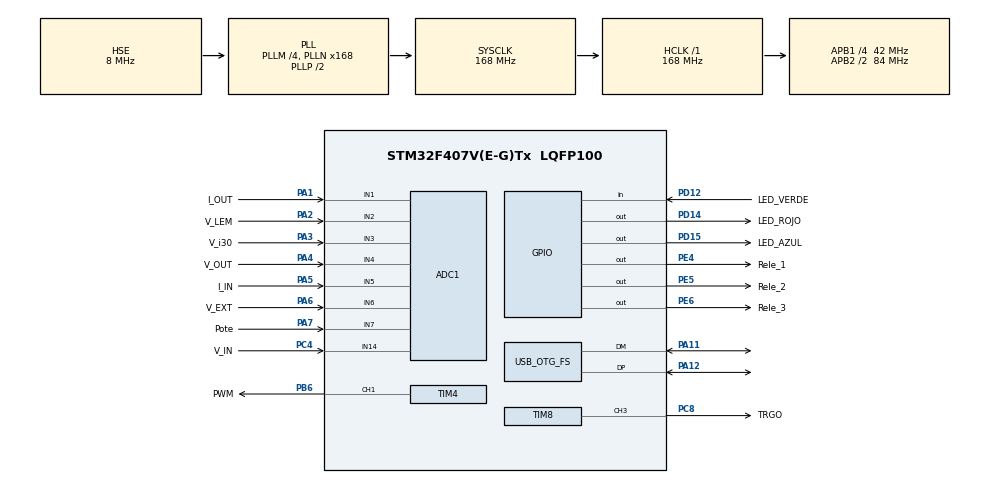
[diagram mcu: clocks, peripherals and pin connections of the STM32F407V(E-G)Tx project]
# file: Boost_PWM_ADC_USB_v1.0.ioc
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ADC1.Channel-0\#ChannelRegularConversion=ADC_CHANNEL_1
ADC1.Channel-1\#ChannelRegularConversion=ADC_CHANNEL_2
ADC1.Channel-2\#ChannelRegularConversion=ADC_CHANNEL_3
ADC1.Channel-3\#ChannelRegularConversion=ADC_CHANNEL_4
ADC1.Channel-4\#ChannelRegularConversion=ADC_CHANNEL_5
ADC1.Channel-5\#ChannelRegularConversion=ADC_CHANNEL_6
ADC1.Channel-6\#ChannelRegularConversion=ADC_CHANNEL_7
ADC1.Channel-7\#ChannelRegularConversion=ADC_CHANNEL_14
ADC1.DMAContinuousRequests=ENABLE
ADC1.EOCSelection=ADC_EOC_SEQ_CONV
ADC1.ExternalTrigConv=ADC_EXTERNALTRIGCONV_T8_TRGO
ADC1.ExternalTrigConvEdge=ADC_EXTERNALTRIGCONVEDGE_FALLING
ADC1.NbrOfConversion=8
ADC1.NbrOfConversionFlag=1
ADC1.Rank-0\#ChannelRegularConversion=1
ADC1.Rank-1\#ChannelRegularConversion=2
ADC1.Rank-2\#ChannelRegularConversion=3
ADC1.Rank-3\#ChannelRegularConversion=4
ADC1.Rank-4\#ChannelRegularConversion=5
ADC1.Rank-5\#ChannelRegularConversion=6
ADC1.Rank-6\#ChannelRegularConversion=7
ADC1.Rank-7\#ChannelRegularConversion=8
ADC1.SamplingTime-0\#ChannelRegularConversion=ADC_SAMPLETIME_56CYCLES
ADC1.SamplingTime-1\#ChannelRegularConversion=ADC_SAMPLETIME_56CYCLES
ADC1.SamplingTime-2\#ChannelRegularConversion=ADC_SAMPLETIME_56CYCLES
ADC1.SamplingTime-3\#ChannelRegularConversion=ADC_SAMPLETIME_56CYCLES
ADC1.SamplingTime-4\#ChannelRegularConversion=ADC_SAMPLETIME_56CYCLES
ADC1.SamplingTime-5\#ChannelRegularConversion=ADC_SAMPLETIME_56CYCLES
ADC1.SamplingTime-6\#ChannelRegularConversion=ADC_SAMPLETIME_56CYCLES
ADC1.SamplingTime-7\#ChannelRegularConversion=ADC_SAMPLETIME_56CYCLES
ADC1.ScanConvMode=ENABLE
ADC1.master=1
Dma.ADC1.0.Direction=DMA_PERIPH_TO_MEMORY
Dma.ADC1.0.FIFOMode=DMA_FIFOMODE_DISABLE
Dma.ADC1.0.Instance=DMA2_Stream0
Dma.ADC1.0.MemDataAlignment=DMA_MDATAALIGN_HALFWORD
Dma.ADC1.0.MemInc=DMA_MINC_ENABLE
Dma.ADC1.0.Mode=DMA_CIRCULAR
Dma.ADC1.0.PeriphDataAlignment=DMA_PDATAALIGN_HALFWORD
Dma.ADC1.0.PeriphInc=DMA_PINC_DISABLE
Dma.ADC1.0.Priority=DMA_PRIORITY_HIGH
Dma.MEMTOMEM.1.Direction=DMA_MEMORY_TO_MEMORY
Dma.MEMTOMEM.1.FIFOMode=DMA_FIFOMODE_ENABLE
Dma.MEMTOMEM.1.FIFOThreshold=DMA_FIFO_THRESHOLD_FULL
Dma.MEMTOMEM.1.Instance=DMA2_Stream1
Dma.MEMTOMEM.1.MemBurst=DMA_MBURST_SINGLE
Dma.MEMTOMEM.1.MemDataAlignment=DMA_MDATAALIGN_HALFWORD
Dma.MEMTOMEM.1.MemInc=DMA_MINC_ENABLE
Dma.MEMTOMEM.1.Mode=DMA_NORMAL
Dma.MEMTOMEM.1.PeriphBurst=DMA_PBURST_SINGLE
Dma.MEMTOMEM.1.PeriphDataAlignment=DMA_PDATAALIGN_HALFWORD
Dma.MEMTOMEM.1.PeriphInc=DMA_PINC_ENABLE
Dma.MEMTOMEM.1.Priority=DMA_PRIORITY_LOW
Dma.Request0=ADC1
Dma.Request1=MEMTOMEM
Mcu.Family=STM32F4
Mcu.Name=STM32F407V(E-G)Tx
Mcu.Package=LQFP100
NVIC.DMA2_Stream0_IRQn=true\:0\:0\:false\:false\:true\:false\:true\:true
NVIC.OTG_FS_IRQn=true\:0\:0\:false\:false\:true\:false\:true\:true
NVIC.PriorityGroup=NVIC_PRIORITYGROUP_0
NVIC.TIM4_IRQn=true\:0\:0\:false\:false\:true\:true\:true\:true
NVIC.TIM8_CC_IRQn=true\:0\:0\:false\:false\:true\:true\:true\:true
PA1.GPIO_Label=I_OUT
PA1.Signal=ADCx_IN1
PA11.Mode=Device_Only
PA11.Signal=USB_OTG_FS_DM
PA12.Mode=Device_Only
PA12.Signal=USB_OTG_FS_DP
PA2.GPIO_Label=V_LEM
PA2.Signal=ADCx_IN2
PA3.GPIO_Label=V_i30
PA3.Signal=ADCx_IN3
PA4.GPIO_Label=V_OUT
PA4.Signal=ADCx_IN4
PA5.GPIO_Label=I_IN
PA5.Signal=ADCx_IN5
PA6.GPIO_Label=V_EXT
PA6.Signal=ADCx_IN6
PA7.GPIO_Label=Pote
PA7.Signal=ADCx_IN7
PB6.GPIO_Label=PWM
PB6.Signal=S_TIM4_CH1
PC4.GPIO_Label=V_IN
PC4.Signal=ADCx_IN14
PC8.GPIO_Label=TRGO
PC8.Signal=S_TIM8_CH3
PD12.GPIO_Label=LED_VERDE
PD12.Signal=GPIO_Input
PD14.GPIO_Label=LED_ROJO
PD14.Signal=GPIO_Output
PD15.GPIO_Label=LED_AZUL
PD15.Signal=GPIO_Output
PE4.GPIO_Label=Rele_1
PE4.Signal=GPIO_Output
PE5.GPIO_Label=Rele_2
PE5.Signal=GPIO_Output
PE6.GPIO_Label=Rele_3
PE6.Signal=GPIO_Output
PH0-OSC_IN.Mode=HSE-External-Oscillator
PH0-OSC_IN.Signal=RCC_OSC_IN
PH1-OSC_OUT.Mode=HSE-External-Oscillator
PH1-OSC_OUT.Signal=RCC_OSC_OUT
ProjectManager.HeapSize=0x200
ProjectManager.StackSize=0x400
ProjectManager.TargetToolchain=STM32CubeIDE
RCC.48MHZClocksFreq_Value=48000000
RCC.AHBFreq_Value=168000000
RCC.APB1CLKDivider=RCC_HCLK_DIV4
RCC.APB1Freq_Value=42000000
RCC.APB1TimFreq_Value=84000000
RCC.APB2CLKDivider=RCC_HCLK_DIV2
RCC.APB2Freq_Value=84000000
RCC.APB2TimFreq_Value=168000000
RCC.CortexFreq_Value=168000000
RCC.HCLKFreq_Value=168000000
RCC.HSE_VALUE=8000000
RCC.HSI_VALUE=16000000
RCC.LSE_VALUE=32768
RCC.PLLM=4
RCC.PLLN=168
RCC.PLLQ=7
RCC.SYSCLKFreq_VALUE=168000000
RCC.SYSCLKSource=RCC_SYSCLKSOURCE_PLLCLK
RCC.VCOOutputFreq_Value=336000000
SH.ADCx_IN1.0=ADC1_IN1,IN1
SH.ADCx_IN14.0=ADC1_IN14,IN14
SH.ADCx_IN2.0=ADC1_IN2,IN2
SH.ADCx_IN3.0=ADC1_IN3,IN3
SH.ADCx_IN4.0=ADC1_IN4,IN4
SH.ADCx_IN5.0=ADC1_IN5,IN5
SH.ADCx_IN6.0=ADC1_IN6,IN6
SH.ADCx_IN7.0=ADC1_IN7,IN7
SH.S_TIM4_CH1.0=TIM4_CH1,PWM Generation1 CH1
SH.S_TIM8_CH3.0=TIM8_CH3,PWM Generation3 CH3
TIM4.Channel-PWM\ Generation1\ CH1=TIM_CHANNEL_1
TIM4.Period=8399
TIM4.Pulse-PWM\ Generation1\ CH1=4400
TIM8.Channel-PWM\ Generation3\ CH3=TIM_CHANNEL_3
TIM8.Period=8399
TIM8.Prescaler=1
TIM8.Pulse-PWM\ Generation3\ CH3=4200
TIM8.TIM_MasterOutputTrigger=TIM_TRGO_OC3REF
USB_DEVICE.CLASS_NAME_FS=CDC
USB_DEVICE.VirtualMode-CDC_FS=Cdc
USB_DEVICE.VirtualModeFS=Cdc_FS
USB_OTG_FS.VirtualMode=Device_Only
VP_TIM4_VS_ClockSourceINT.Mode=Internal
VP_TIM8_VS_ClockSourceINT.Mode=Internal
VP_USB_DEVICE_VS_USB_DEVICE_CDC_FS.Mode=CDC_FS
board=STM32F407G-DISC1

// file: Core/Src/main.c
/* USER CODE BEGIN Header */
/**
  ******************************************************************************
  * @file           : main.c
  * @brief          : Main program body
  ******************************************************************************
  * @attention
  *
  * Copyright (c) 2024 STMicroelectronics.
  * All rights reserved.
  *
  * This software is licensed under terms that can be found in the LICENSE file
  * in the root directory of this software component.
  * If no LICENSE file comes with this software, it is provided AS-IS.
  *
  ******************************************************************************
  */
/* USER CODE END Header */
#include "main.h"
#include "usb_device.h"

/* USER CODE BEGIN Includes */
#include "stdbool.h"
#include "math.h"
#include "stdio.h"
#include <string.h> // Necesario para memcpy
#include "usbd_cdc_if.h"
/* USER CODE END Includes */

ADC_HandleTypeDef hadc1;
DMA_HandleTypeDef hdma_adc1;

TIM_HandleTypeDef htim4;
TIM_HandleTypeDef htim8;

DMA_HandleTypeDef hdma_memtomem_dma2_stream1;

void SystemClock_Config(void);
static void MX_GPIO_Init(void);
static void MX_DMA_Init(void);
static void MX_ADC1_Init(void);
static void MX_TIM4_Init(void);
static void MX_TIM8_Init(void);
/* USER CODE BEGIN PFP */

void DMA_Transfer(uint16_t *source, uint16_t *destination, uint16_t size);
void convert_Uint16_to_Uint8(uint16_t *srcArray, size_t srcLength, uint8_t *destArray);

/* USER CODE END PFP */

/* USER CODE BEGIN 0 */

#define ITM_Port32(n) (*((volatile unsigned long *) (0xE0000000+4*n)))

// Variables del ADC
#define CANALES_ADC 8									//Cantidad de canales que muestrea el ADC
#define BUFFER_CANALES_ADC 10							//Cantidad de mediciones de cada canal que se guardara antes de enviarlos
#define ADC_BUFFER_SIZE CANALES_ADC*BUFFER_CANALES_ADC  //Size del buffer donde el DMA guardara las mediciones del ADC
#define ADC_BUFFER_HALF_SIZE ADC_BUFFER_SIZE/2

uint16_t adc1_array[ADC_BUFFER_SIZE]; 					//Array donde el DMA guarda las conversiones del ADC1 [Io, LEM, i30, Vo, IL, Vext, Pote, Vin]
uint16_t tx_buffer1[ADC_BUFFER_HALF_SIZE];				//Array donde se guarda la primera mitad de los datos muestreados por el ADC (adc1_array)
uint16_t tx_buffer2[ADC_BUFFER_HALF_SIZE];				//Array donde se guarda la segunda mitad de los datos muestreados por el ADC (adc1_array)

//Array que se va a enviar por USB. Para evitar que el ADC sobreescriba los datos del array antes de que estos
//sean envaidos, se utiliza una tecnica que consiste en:
//	1. Almacenar los datos del ADC en un Array (adc1_array)
//  2. Cuando el DMA lleno la mitad del array (adc1_array) mueve estos datos al array tx_buffer1
//  3. Como el array tx_buffer1 es de 16 bits, se convierten cada uno de sus valores a datos de 8 bits que se almacenan en el array "tx_buffer_final"
//     Por eso, el tamaño del array "tx_buffer_final" es el doble del array "tx_buffer1". Una vez convertido, el array "tx_buffer_final" es enviado por USB.
//  4. Mientras el punto 3 se ejecuta, el DMA continua llenando la segunda mitad del array "adc1_array", una vez terminado, se repite el punto 3 pero con el array "tx_buffer2"

uint8_t tx_buffer_final[ADC_BUFFER_SIZE+2]; 			//Tamaño del encabezado (2 bytes) + tamaño de los datos convertidos (2 * número de elementos en srcArray)

uint16_t duty_pwm = 0;
uint16_t trigger = 0;

uint16_t cont = 0;

//--Variables para la banda muerta
uint16_t x_prev = 0;
float deadBand = 0.05;

float duty= 0;

float bandaMuerta(float x) {		//Banda muerta para el potenciometro

	if (fabs(x - x_prev) < deadBand) {
		x = x_prev;
	} else {
		x_prev = x;
	}

	if (x < 0.1){
		return 0.1;
	}
	else if (x > 0.9){
		return 0.9;
	}
	else{
		return x;
	}
}

void set_period(float duty){

	duty_pwm = duty * (htim4.Init.Period + 1);

	if (duty > 0.5){
		trigger = (duty*0.5) * (htim8.Init.Period + 1);
	}
	else{
		trigger = ((1-duty)*0.5 + duty) * (htim8.Init.Period + 1);
	}

	trigger = duty_pwm;

	__HAL_TIM_SET_COMPARE(&htim4,TIM_CHANNEL_1, duty_pwm);
	__HAL_TIM_SET_COMPARE(&htim8,TIM_CHANNEL_3, trigger);
}

/* USER CODE END 0 */

int main(void)
{

  /* MCU Configuration--------------------------------------------------------*/

  /* Reset of all peripherals, Initializes the Flash interface and the Systick. */
  HAL_Init();

  /* Configure the system clock */
  SystemClock_Config();

  /* Initialize all configured peripherals */
  MX_GPIO_Init();
  MX_DMA_Init();
  MX_ADC1_Init();
  MX_TIM4_Init();
  MX_TIM8_Init();
  MX_USB_DEVICE_Init();
  /* USER CODE BEGIN 2 */

	DBGMCU->APB1FZ |= (DBGMCU_APB1_FZ_DBG_TIM4_STOP);//Detiene el clock del APB1 en Debug Mode
	DBGMCU->APB2FZ |= (DBGMCU_APB2_FZ_DBG_TIM8_STOP);//Detiene el clock del APB2 en Debug Mode

	__HAL_TIM_SET_COUNTER(&htim4, 0);//Reseteo los contadores de ambos timers para que cuenten en paralelo
	__HAL_TIM_SET_COUNTER(&htim8, 0);

	if (HAL_ADC_Start_DMA(&hadc1, (uint32_t*) &adc1_array, (sizeof(adc1_array) / sizeof(adc1_array[0]))) != HAL_OK) {//Inicio el DMA para enviar los datos del ADC a la variable "adc1_array" -> Iniciarlo antes que los Timers!!!
		Error_Handler();
	}

	if (HAL_TIM_PWM_Start_IT(&htim4, TIM_CHANNEL_1) != HAL_OK) {//Inicio el CH1 del Timer 4. Salida del  PWM
		Error_Handler();
	}

	if (HAL_TIM_PWM_Start_IT(&htim8, TIM_CHANNEL_3) != HAL_OK) {//Inicio el CH3 del Timer 8. Salida del  PWM
		Error_Handler();
	}

	__HAL_TIM_SET_COMPARE(&htim4,TIM_CHANNEL_1, 0.5*(htim4.Init.Period + 1));
	__HAL_TIM_SET_COMPARE(&htim8,TIM_CHANNEL_3, 0.5*(htim8.Init.Period + 1));

	HAL_GPIO_WritePin(Rele_1_GPIO_Port, Rele_1_Pin, 1);
	HAL_GPIO_WritePin(Rele_2_GPIO_Port, Rele_2_Pin, 1);
	HAL_GPIO_WritePin(Rele_3_GPIO_Port, Rele_3_Pin, 1);

  /* USER CODE END 2 */

  /* Infinite loop */
  /* USER CODE BEGIN WHILE */
  while (1)
  {

	  HAL_Delay(500);

	  duty = bandaMuerta(adc1_array[6]/4096.0);

	  set_period(duty);

    /* USER CODE END WHILE */

  }
}

void SystemClock_Config(void)
{
  RCC_OscInitTypeDef RCC_OscInitStruct = {0};
  RCC_ClkInitTypeDef RCC_ClkInitStruct = {0};

  /** Configure the main internal regulator output voltage
  */
  __HAL_RCC_PWR_CLK_ENABLE();
  __HAL_PWR_VOLTAGESCALING_CONFIG(PWR_REGULATOR_VOLTAGE_SCALE1);

  /** Initializes the RCC Oscillators according to the specified parameters
  * in the RCC_OscInitTypeDef structure.
  */
  RCC_OscInitStruct.OscillatorType = RCC_OSCILLATORTYPE_HSE;
  RCC_OscInitStruct.HSEState = RCC_HSE_ON;
  RCC_OscInitStruct.PLL.PLLState = RCC_PLL_ON;
  RCC_OscInitStruct.PLL.PLLSource = RCC_PLLSOURCE_HSE;
  RCC_OscInitStruct.PLL.PLLM = 4;
  RCC_OscInitStruct.PLL.PLLN = 168;
  RCC_OscInitStruct.PLL.PLLP = RCC_PLLP_DIV2;
  RCC_OscInitStruct.PLL.PLLQ = 7;
  if (HAL_RCC_OscConfig(&RCC_OscInitStruct) != HAL_OK)
  {
    Error_Handler();
  }

  /** Initializes the CPU, AHB and APB buses clocks
  */
  RCC_ClkInitStruct.ClockType = RCC_CLOCKTYPE_HCLK|RCC_CLOCKTYPE_SYSCLK
                              |RCC_CLOCKTYPE_PCLK1|RCC_CLOCKTYPE_PCLK2;
  RCC_ClkInitStruct.SYSCLKSource = RCC_SYSCLKSOURCE_PLLCLK;
  RCC_ClkInitStruct.AHBCLKDivider = RCC_SYSCLK_DIV1;
  RCC_ClkInitStruct.APB1CLKDivider = RCC_HCLK_DIV4;
  RCC_ClkInitStruct.APB2CLKDivider = RCC_HCLK_DIV2;

  if (HAL_RCC_ClockConfig(&RCC_ClkInitStruct, FLASH_LATENCY_5) != HAL_OK)
  {
    Error_Handler();
  }
}

static void MX_ADC1_Init(void)
{

  ADC_ChannelConfTypeDef sConfig = {0};

  /** Configure the global features of the ADC (Clock, Resolution, Data Alignment and number of conversion)
  */
  hadc1.Instance = ADC1;
  hadc1.Init.ClockPrescaler = ADC_CLOCK_SYNC_PCLK_DIV4;
  hadc1.Init.Resolution = ADC_RESOLUTION_12B;
  hadc1.Init.ScanConvMode = ENABLE;
  hadc1.Init.ContinuousConvMode = DISABLE;
  hadc1.Init.DiscontinuousConvMode = DISABLE;
  hadc1.Init.ExternalTrigConvEdge = ADC_EXTERNALTRIGCONVEDGE_FALLING;
  hadc1.Init.ExternalTrigConv = ADC_EXTERNALTRIGCONV_T8_TRGO;
  hadc1.Init.DataAlign = ADC_DATAALIGN_RIGHT;
  hadc1.Init.NbrOfConversion = 8;
  hadc1.Init.DMAContinuousRequests = ENABLE;
  hadc1.Init.EOCSelection = ADC_EOC_SEQ_CONV;
  if (HAL_ADC_Init(&hadc1) != HAL_OK)
  {
    Error_Handler();
  }

  /** Configure for the selected ADC regular channel its corresponding rank in the sequencer and its sample time.
  */
  sConfig.Channel = ADC_CHANNEL_1;
  sConfig.Rank = 1;
  sConfig.SamplingTime = ADC_SAMPLETIME_56CYCLES;
  if (HAL_ADC_ConfigChannel(&hadc1, &sConfig) != HAL_OK)
  {
    Error_Handler();
  }

  /** Configure for the selected ADC regular channel its corresponding rank in the sequencer and its sample time.
  */
  sConfig.Channel = ADC_CHANNEL_2;
  sConfig.Rank = 2;
  if (HAL_ADC_ConfigChannel(&hadc1, &sConfig) != HAL_OK)
  {
    Error_Handler();
  }

  /** Configure for the selected ADC regular channel its corresponding rank in the sequencer and its sample time.
  */
  sConfig.Channel = ADC_CHANNEL_3;
  sConfig.Rank = 3;
  if (HAL_ADC_ConfigChannel(&hadc1, &sConfig) != HAL_OK)
  {
    Error_Handler();
  }

  /** Configure for the selected ADC regular channel its corresponding rank in the sequencer and its sample time.
  */
  sConfig.Channel = ADC_CHANNEL_4;
  sConfig.Rank = 4;
  if (HAL_ADC_ConfigChannel(&hadc1, &sConfig) != HAL_OK)
  {
    Error_Handler();
  }

  /** Configure for the selected ADC regular channel its corresponding rank in the sequencer and its sample time.
  */
  sConfig.Channel = ADC_CHANNEL_5;
  sConfig.Rank = 5;
  if (HAL_ADC_ConfigChannel(&hadc1, &sConfig) != HAL_OK)
  {
    Error_Handler();
  }

  /** Configure for the selected ADC regular channel its corresponding rank in the sequencer and its sample time.
  */
  sConfig.Channel = ADC_CHANNEL_6;
  sConfig.Rank = 6;
  if (HAL_ADC_ConfigChannel(&hadc1, &sConfig) != HAL_OK)
  {
    Error_Handler();
  }

  /** Configure for the selected ADC regular channel its corresponding rank in the sequencer and its sample time.
  */
  sConfig.Channel = ADC_CHANNEL_7;
  sConfig.Rank = 7;
  if (HAL_ADC_ConfigChannel(&hadc1, &sConfig) != HAL_OK)
  {
    Error_Handler();
  }

  /** Configure for the selected ADC regular channel its corresponding rank in the sequencer and its sample time.
  */
  sConfig.Channel = ADC_CHANNEL_14;
  sConfig.Rank = 8;
  if (HAL_ADC_ConfigChannel(&hadc1, &sConfig) != HAL_OK)
  {
    Error_Handler();
  }

}

static void MX_TIM4_Init(void)
{

  TIM_ClockConfigTypeDef sClockSourceConfig = {0};
  TIM_MasterConfigTypeDef sMasterConfig = {0};
  TIM_OC_InitTypeDef sConfigOC = {0};

  htim4.Instance = TIM4;
  htim4.Init.Prescaler = 0;
  htim4.Init.CounterMode = TIM_COUNTERMODE_UP;
  htim4.Init.Period = 8399;
  htim4.Init.ClockDivision = TIM_CLOCKDIVISION_DIV1;
  htim4.Init.AutoReloadPreload = TIM_AUTORELOAD_PRELOAD_DISABLE;
  if (HAL_TIM_Base_Init(&htim4) != HAL_OK)
  {
    Error_Handler();
  }
  sClockSourceConfig.ClockSource = TIM_CLOCKSOURCE_INTERNAL;
  if (HAL_TIM_ConfigClockSource(&htim4, &sClockSourceConfig) != HAL_OK)
  {
    Error_Handler();
  }
  if (HAL_TIM_PWM_Init(&htim4) != HAL_OK)
  {
    Error_Handler();
  }
  sMasterConfig.MasterOutputTrigger = TIM_TRGO_RESET;
  sMasterConfig.MasterSlaveMode = TIM_MASTERSLAVEMODE_DISABLE;
  if (HAL_TIMEx_MasterConfigSynchronization(&htim4, &sMasterConfig) != HAL_OK)
  {
    Error_Handler();
  }
  sConfigOC.OCMode = TIM_OCMODE_PWM1;
  sConfigOC.Pulse = 4400;
  sConfigOC.OCPolarity = TIM_OCPOLARITY_HIGH;
  sConfigOC.OCFastMode = TIM_OCFAST_DISABLE;
  if (HAL_TIM_PWM_ConfigChannel(&htim4, &sConfigOC, TIM_CHANNEL_1) != HAL_OK)
  {
    Error_Handler();
  }
  HAL_TIM_MspPostInit(&htim4);

}

static void MX_TIM8_Init(void)
{

  TIM_ClockConfigTypeDef sClockSourceConfig = {0};
  TIM_MasterConfigTypeDef sMasterConfig = {0};
  TIM_OC_InitTypeDef sConfigOC = {0};
  TIM_BreakDeadTimeConfigTypeDef sBreakDeadTimeConfig = {0};

  htim8.Instance = TIM8;
  htim8.Init.Prescaler = 1;
  htim8.Init.CounterMode = TIM_COUNTERMODE_UP;
  htim8.Init.Period = 8399;
  htim8.Init.ClockDivision = TIM_CLOCKDIVISION_DIV1;
  htim8.Init.RepetitionCounter = 0;
  htim8.Init.AutoReloadPreload = TIM_AUTORELOAD_PRELOAD_DISABLE;
  if (HAL_TIM_Base_Init(&htim8) != HAL_OK)
  {
    Error_Handler();
  }
  sClockSourceConfig.ClockSource = TIM_CLOCKSOURCE_INTERNAL;
  if (HAL_TIM_ConfigClockSource(&htim8, &sClockSourceConfig) != HAL_OK)
  {
    Error_Handler();
  }
  if (HAL_TIM_PWM_Init(&htim8) != HAL_OK)
  {
    Error_Handler();
  }
  sMasterConfig.MasterOutputTrigger = TIM_TRGO_OC3REF;
  sMasterConfig.MasterSlaveMode = TIM_MASTERSLAVEMODE_DISABLE;
  if (HAL_TIMEx_MasterConfigSynchronization(&htim8, &sMasterConfig) != HAL_OK)
  {
    Error_Handler();
  }
  sConfigOC.OCMode = TIM_OCMODE_PWM1;
  sConfigOC.Pulse = 4200;
  sConfigOC.OCPolarity = TIM_OCPOLARITY_HIGH;
  sConfigOC.OCNPolarity = TIM_OCNPOLARITY_HIGH;
  sConfigOC.OCFastMode = TIM_OCFAST_DISABLE;
  sConfigOC.OCIdleState = TIM_OCIDLESTATE_RESET;
  sConfigOC.OCNIdleState = TIM_OCNIDLESTATE_RESET;
  if (HAL_TIM_PWM_ConfigChannel(&htim8, &sConfigOC, TIM_CHANNEL_3) != HAL_OK)
  {
    Error_Handler();
  }
  sBreakDeadTimeConfig.OffStateRunMode = TIM_OSSR_DISABLE;
  sBreakDeadTimeConfig.OffStateIDLEMode = TIM_OSSI_DISABLE;
  sBreakDeadTimeConfig.LockLevel = TIM_LOCKLEVEL_OFF;
  sBreakDeadTimeConfig.DeadTime = 0;
  sBreakDeadTimeConfig.BreakState = TIM_BREAK_DISABLE;
  sBreakDeadTimeConfig.BreakPolarity = TIM_BREAKPOLARITY_HIGH;
  sBreakDeadTimeConfig.AutomaticOutput = TIM_AUTOMATICOUTPUT_DISABLE;
  if (HAL_TIMEx_ConfigBreakDeadTime(&htim8, &sBreakDeadTimeConfig) != HAL_OK)
  {
    Error_Handler();
  }
  HAL_TIM_MspPostInit(&htim8);

}

static void MX_DMA_Init(void)
{

  /* DMA controller clock enable */
  __HAL_RCC_DMA2_CLK_ENABLE();

  /* Configure DMA request hdma_memtomem_dma2_stream1 on DMA2_Stream1 */
  hdma_memtomem_dma2_stream1.Instance = DMA2_Stream1;
  hdma_memtomem_dma2_stream1.Init.Channel = DMA_CHANNEL_0;
  hdma_memtomem_dma2_stream1.Init.Direction = DMA_MEMORY_TO_MEMORY;
  hdma_memtomem_dma2_stream1.Init.PeriphInc = DMA_PINC_ENABLE;
  hdma_memtomem_dma2_stream1.Init.MemInc = DMA_MINC_ENABLE;
  hdma_memtomem_dma2_stream1.Init.PeriphDataAlignment = DMA_PDATAALIGN_HALFWORD;
  hdma_memtomem_dma2_stream1.Init.MemDataAlignment = DMA_MDATAALIGN_HALFWORD;
  hdma_memtomem_dma2_stream1.Init.Mode = DMA_NORMAL;
  hdma_memtomem_dma2_stream1.Init.Priority = DMA_PRIORITY_LOW;
  hdma_memtomem_dma2_stream1.Init.FIFOMode = DMA_FIFOMODE_ENABLE;
  hdma_memtomem_dma2_stream1.Init.FIFOThreshold = DMA_FIFO_THRESHOLD_FULL;
  hdma_memtomem_dma2_stream1.Init.MemBurst = DMA_MBURST_SINGLE;
  hdma_memtomem_dma2_stream1.Init.PeriphBurst = DMA_PBURST_SINGLE;
  if (HAL_DMA_Init(&hdma_memtomem_dma2_stream1) != HAL_OK)
  {
    Error_Handler( );
  }

  /* DMA interrupt init */
  /* DMA2_Stream0_IRQn interrupt configuration */
  HAL_NVIC_SetPriority(DMA2_Stream0_IRQn, 0, 0);
  HAL_NVIC_EnableIRQ(DMA2_Stream0_IRQn);

}

static void MX_GPIO_Init(void)
{
  GPIO_InitTypeDef GPIO_InitStruct = {0};

  /* GPIO Ports Clock Enable */
  __HAL_RCC_GPIOE_CLK_ENABLE();
  __HAL_RCC_GPIOH_CLK_ENABLE();
  __HAL_RCC_GPIOA_CLK_ENABLE();
  __HAL_RCC_GPIOC_CLK_ENABLE();
  __HAL_RCC_GPIOD_CLK_ENABLE();
  __HAL_RCC_GPIOB_CLK_ENABLE();

  /*Configure GPIO pin Output Level */
  HAL_GPIO_WritePin(GPIOE, Rele_1_Pin|Rele_2_Pin|Rele_3_Pin, GPIO_PIN_RESET);

  /*Configure GPIO pin Output Level */
  HAL_GPIO_WritePin(GPIOD, LED_ROJO_Pin|LED_AZUL_Pin, GPIO_PIN_RESET);

  /*Configure GPIO pins : Rele_1_Pin Rele_2_Pin Rele_3_Pin */
  GPIO_InitStruct.Pin = Rele_1_Pin|Rele_2_Pin|Rele_3_Pin;
  GPIO_InitStruct.Mode = GPIO_MODE_OUTPUT_PP;
  GPIO_InitStruct.Pull = GPIO_NOPULL;
  GPIO_InitStruct.Speed = GPIO_SPEED_FREQ_LOW;
  HAL_GPIO_Init(GPIOE, &GPIO_InitStruct);

  /*Configure GPIO pin : LED_VERDE_Pin */
  GPIO_InitStruct.Pin = LED_VERDE_Pin;
  GPIO_InitStruct.Mode = GPIO_MODE_INPUT;
  GPIO_InitStruct.Pull = GPIO_NOPULL;
  HAL_GPIO_Init(LED_VERDE_GPIO_Port, &GPIO_InitStruct);

  /*Configure GPIO pins : LED_ROJO_Pin LED_AZUL_Pin */
  GPIO_InitStruct.Pin = LED_ROJO_Pin|LED_AZUL_Pin;
  GPIO_InitStruct.Mode = GPIO_MODE_OUTPUT_PP;
  GPIO_InitStruct.Pull = GPIO_NOPULL;
  GPIO_InitStruct.Speed = GPIO_SPEED_FREQ_LOW;
  HAL_GPIO_Init(GPIOD, &GPIO_InitStruct);

}

/* USER CODE BEGIN 4 */

void convert_Uint16_to_Uint8(uint16_t *srcArray, size_t srcLength, uint8_t *destArray){

    // Agregar encabezado
    destArray[0] = 0xAA; // Primer byte del encabezado
    destArray[1] = 0x55; // Segundo byte del encabezado

    // Convertir uint16_t a uint8_t y agregar al array de destino
    for (size_t i = 0; i < srcLength; i++) {
        destArray[2 + 2 * i] = srcArray[i] & 0xFF;       	  // Parte baja del uint16_t
        destArray[2 + 2 * i + 1] = (srcArray[i] >> 8) & 0xFF; // Parte alta del uint16_t

    }

    ITM_Port32(2) = 1;
    CDC_Transmit_FS((uint8_t *) tx_buffer_final, sizeof(tx_buffer_final));	//Envia por USB los datos
    ITM_Port32(2) = 0;
}

void DMA_Transfer(uint16_t *source, uint16_t *destination, uint16_t size){

    ITM_Port32(20) = 0;
    // Inicia la transferencia DMA
    if (HAL_DMA_Start(&hdma_memtomem_dma2_stream1, (uint32_t)source, (uint32_t)destination, size) != HAL_OK) {
        Error_Handler();         // Error de inicio
    }

    HAL_DMA_PollForTransfer(&hdma_memtomem_dma2_stream1, HAL_DMA_FULL_TRANSFER, 1);
    ITM_Port32(20) = 1;

}

void HAL_ADC_ConvCpltCallback(ADC_HandleTypeDef *hadc) {									  	//Interrupcion que indica el fin de la conversion

	if (hadc->DMA_Handle == &hdma_adc1) {
		HAL_GPIO_WritePin(LED_ROJO_GPIO_Port, LED_ROJO_Pin, 1);
		DMA_Transfer(&adc1_array[ADC_BUFFER_HALF_SIZE], &tx_buffer2[0], ADC_BUFFER_HALF_SIZE); 	//Transfiere la segunda mitad de los datos al registro tx_buffer2
		convert_Uint16_to_Uint8(tx_buffer2, ADC_BUFFER_HALF_SIZE, tx_buffer_final);
	}

}

void HAL_ADC_ConvHalfCpltCallback(ADC_HandleTypeDef *hadc) {									//Interrupcion cuando el DMA lleno la mitad del buffer

	if (hadc->DMA_Handle == &hdma_adc1) {
		HAL_GPIO_WritePin(LED_ROJO_GPIO_Port, LED_ROJO_Pin, 1);
		DMA_Transfer(&adc1_array[0], &tx_buffer1[0], ADC_BUFFER_HALF_SIZE);						//Transfiere la primer mitad de los datos al registro tx_buffer1
		convert_Uint16_to_Uint8(tx_buffer1, ADC_BUFFER_HALF_SIZE, tx_buffer_final);
	}

}

//Funcion Callback llamada por las interrupciones de los timers. Deben estar habilitadas en la configuracion
// Ingresa con el flanco descendente del PWM
void HAL_TIM_PWM_PulseFinishedCallback(TIM_HandleTypeDef *htim) {

	if (htim->Instance == TIM8) {			//TRGO
		ITM_Port32(30) = 1;
		HAL_GPIO_TogglePin(LED_AZUL_GPIO_Port, LED_AZUL_Pin);	//PD15
//
		HAL_GPIO_WritePin(LED_ROJO_GPIO_Port, LED_ROJO_Pin, 0); //PD14
	}

	if (htim->Instance == TIM4) {			//PWM -
		ITM_Port32(30) = 2;
		HAL_GPIO_TogglePin(LED_VERDE_GPIO_Port, LED_VERDE_Pin); //PD12

	}
}
/* USER CODE END 4 */

void Error_Handler(void)
{
  __disable_irq();
  while (1)
  {
  }
}
